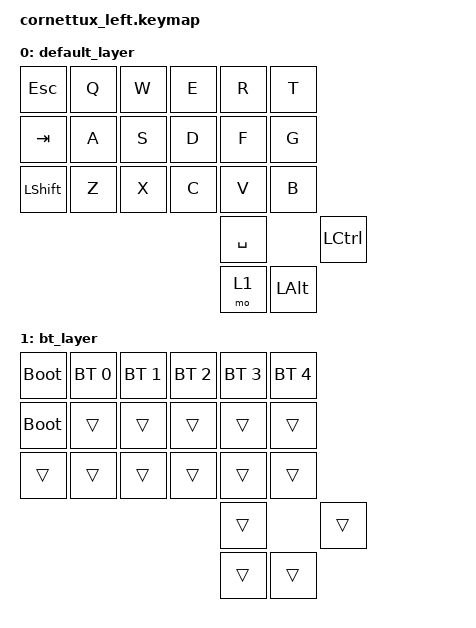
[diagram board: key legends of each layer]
#include <behaviors.dtsi>
#include <dt-bindings/zmk/keys.h>
#include <dt-bindings/zmk/bt.h>

/ {
    keymap {
        compatible = "zmk,keymap";

        default_layer {
            bindings = <
                &kp ESC   &kp Q  &kp W  &kp E  &kp R  &kp T
                &kp TAB   &kp A  &kp S  &kp D  &kp F  &kp G
                &kp LSHFT &kp Z  &kp X  &kp C  &kp V  &kp B
                                               &kp SPACE  &kp LCTRL
                                               &mo 1  &kp LALT
            >;
        };

        bt_layer {
            bindings = <
                &bootloader &bt BT_SEL 0 &bt BT_SEL 1 &bt BT_SEL 2 &bt BT_SEL 3 &bt BT_SEL 4
                &bootloader &trans &trans &trans &trans &trans
                &trans      &trans &trans &trans &trans &trans
                                                 &trans &trans
                                                 &trans &trans
            >;
        };
    };
};
